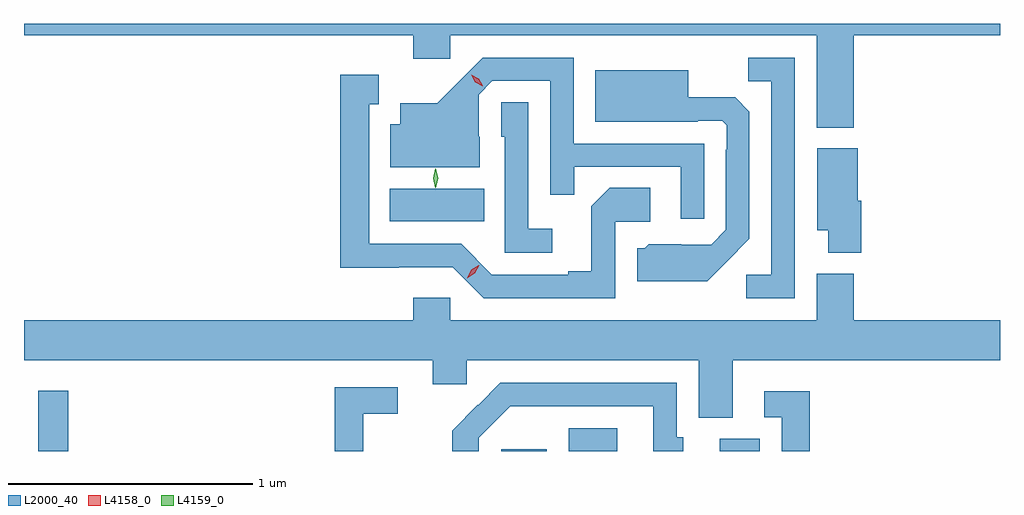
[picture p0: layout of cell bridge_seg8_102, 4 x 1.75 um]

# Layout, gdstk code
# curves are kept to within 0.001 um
import gdstk
lib = gdstk.Library(unit=1e-6, precision=1e-09)
def R(c, l, rs):  # rectangles x0, y0, x1, y1
    for r in rs: c.add(gdstk.rectangle(r[:2], r[2:], *l))
def P(c, l, *ps):  # polygons
    for p in ps: c.add(gdstk.Polygon(p, *l))
L2000_40 = (2000, 40)
L4158_0 = (4158, 0)
L4159_0 = (4159, 0)

bridge_seg8_102 = lib.new_cell('bridge_seg8_102')
R(bridge_seg8_102, L2000_40, [(639.869,1162.748,639.991,1162.996), (641.765,1162.748,641.953,1162.756), (642.042,1162.748,642.241,1162.842), (642.662,1162.748,642.826,1162.8), (641.309,1163.69,641.696,1163.824)])
P(bridge_seg8_102, L2000_40, [(643.211,1164.452),(643.81,1164.452),(643.81,1164.5),(639.81,1164.5),(639.81,1164.452),(641.405,1164.452),(641.405,1164.357),(641.556,1164.357),(641.556,1164.452),(643.058,1164.452),(643.058,1164.074),(643.211,1164.074)],
  [(642.597,1164.009),(642.063,1164.009),(642.063,1164.36),(641.69,1164.36),(641.503,1164.175),(641.351,1164.175),(641.351,1164.088),(641.312,1164.088),(641.312,1163.912),(641.677,1163.912),(641.677,1164.036),(641.673,1164.036),(641.673,1164.21),(641.73,1164.267),(641.967,1164.267),(641.967,1163.8),(642.065,1163.8),(642.065,1163.913),(642.501,1163.913),(642.501,1163.7),(642.597,1163.7)],
  [(642.969,1164.36),(642.778,1164.36),(642.778,1164.265),(642.873,1164.265),(642.873,1163.472),(642.771,1163.472),(642.771,1163.376),(642.969,1163.376)],
  [(642.691,1163.525),(642.783,1163.618),(642.783,1164.14),(642.724,1164.199),(642.532,1164.199),(642.532,1164.31),(642.152,1164.31),(642.152,1164.098),(642.572,1164.098),(642.572,1164.102),(642.672,1164.102),(642.69,1164.084),(642.69,1163.984),(642.687,1163.984),(642.687,1163.655),(642.627,1163.595),(642.37,1163.596),(642.354,1163.58),(642.323,1163.58),(642.323,1163.444),(642.611,1163.444)],
  [(642.234,1163.688),(642.376,1163.688),(642.376,1163.828),(642.211,1163.828),(642.135,1163.752),(642.135,1163.485),(642.041,1163.485),(642.041,1163.472),(641.727,1163.472),(641.601,1163.598),(641.224,1163.598),(641.224,1164.171),(641.263,1164.171),(641.263,1164.292),(641.106,1164.292),(641.106,1163.501),(641.568,1163.502),(641.694,1163.376),(642.234,1163.376)],
  [(641.974,1163.659),(641.877,1163.659),(641.877,1164.179),(641.766,1164.179),(641.766,1164.036),(641.781,1164.036),(641.781,1163.562),(641.974,1163.562)],
  [(643.241,1163.775),(643.228,1163.775),(643.228,1163.989),(643.061,1163.989),(643.061,1163.654),(643.106,1163.654),(643.106,1163.561),(643.241,1163.561)],
  [(641.556,1163.377),(641.405,1163.377),(641.405,1163.284),(639.81,1163.284),(639.81,1163.12),(641.486,1163.12),(641.486,1163.022),(641.625,1163.022),(641.625,1163.12),(642.575,1163.12),(642.575,1162.885),(642.715,1162.885),(642.715,1163.12),(643.81,1163.12),(643.81,1163.284),(643.211,1163.284),(643.211,1163.476),(643.058,1163.476),(643.058,1163.284),(641.556,1163.284)],
  [(641.673,1162.803),(641.802,1162.932),(642.389,1162.932),(642.389,1162.748),(642.511,1162.748),(642.511,1162.806),(642.486,1162.806),(642.486,1163.028),(641.762,1163.028),(641.565,1162.833),(641.565,1162.748),(641.673,1162.748)],
  [(641.201,1162.902),(641.341,1162.902),(641.341,1163.01),(641.083,1163.01),(641.083,1162.748),(641.201,1162.748)],
  [(643.031,1162.993),(642.843,1162.993),(642.843,1162.887),(642.915,1162.887),(642.915,1162.748),(643.031,1162.748)])
P(bridge_seg8_102, L4158_0, [(641.691,1164.244),(641.66,1164.26),(641.643,1164.29),(641.643,1164.29),(641.643,1164.29),(641.674,1164.274),(641.691,1164.245),(641.691,1164.244)],
  [(641.626,1163.458),(641.626,1163.459),(641.643,1163.492),(641.674,1163.511),(641.675,1163.511),(641.675,1163.511),(641.658,1163.478),(641.627,1163.458)])
P(bridge_seg8_102, L4159_0, [(641.496,1163.827),(641.487,1163.866),(641.496,1163.905),(641.496,1163.905),(641.497,1163.905),(641.507,1163.866),(641.497,1163.827),(641.497,1163.827)])

lib.write_gds('bridge_seg8_102.gds')
